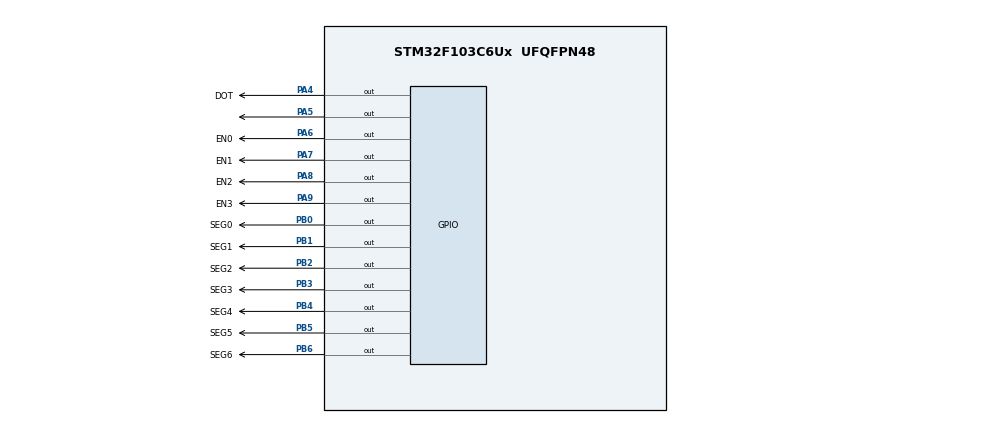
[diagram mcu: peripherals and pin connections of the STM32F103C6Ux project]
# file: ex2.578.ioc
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Mcu.Family=STM32F1
Mcu.Name=STM32F103C6Ux
Mcu.Package=UFQFPN48
NVIC.PriorityGroup=NVIC_PRIORITYGROUP_4
NVIC.TIM2_IRQn=true\:0\:0\:false\:false\:true\:true\:true
PA4.GPIO_Label=DOT
PA4.Signal=GPIO_Output
PA5.Signal=GPIO_Output
PA6.GPIO_Label=EN0
PA6.Signal=GPIO_Output
PA7.GPIO_Label=EN1
PA7.Signal=GPIO_Output
PA8.GPIO_Label=EN2
PA8.Signal=GPIO_Output
PA9.GPIO_Label=EN3
PA9.Signal=GPIO_Output
PB0.GPIO_Label=SEG0
PB0.Signal=GPIO_Output
PB1.GPIO_Label=SEG1
PB1.Signal=GPIO_Output
PB2.GPIO_Label=SEG2
PB2.Signal=GPIO_Output
PB3.GPIO_Label=SEG3
PB3.Signal=GPIO_Output
PB4.GPIO_Label=SEG4
PB4.Signal=GPIO_Output
PB5.GPIO_Label=SEG5
PB5.Signal=GPIO_Output
PB6.GPIO_Label=SEG6
PB6.Signal=GPIO_Output
ProjectManager.HeapSize=0x200
ProjectManager.StackSize=0x400
ProjectManager.TargetToolchain=STM32CubeIDE
RCC.APB1Freq_Value=8000000
RCC.APB2Freq_Value=8000000
TIM2.Period=9
TIM2.Prescaler=7999
VP_SYS_VS_ND.Mode=No_Debug
VP_TIM2_VS_ClockSourceINT.Mode=Internal
board=custom

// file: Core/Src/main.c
/* USER CODE BEGIN Header */
/**
  ******************************************************************************
  * @file           : main.c
  * @brief          : Main program body
  ******************************************************************************
  * @attention
  *
  * <h2><center>&copy; Copyright (c) 2023 STMicroelectronics.
  * All rights reserved.</center></h2>
  *
  * This software component is licensed by ST under BSD 3-Clause license,
  * the "License"; You may not use this file except in compliance with the
  * License. You may obtain a copy of the License at:
  *                        opensource.org/licenses/BSD-3-Clause
  *
  ******************************************************************************
  */
/* USER CODE END Header */
#include "main.h"

TIM_HandleTypeDef htim2;

void SystemClock_Config(void);
static void MX_GPIO_Init(void);
static void MX_TIM2_Init(void);
/* USER CODE BEGIN PFP */
void display7SEG(int num){
	if(num == 0){
			HAL_GPIO_WritePin(SEG0_GPIO_Port, SEG0_Pin, RESET);
			HAL_GPIO_WritePin(SEG1_GPIO_Port, SEG1_Pin, RESET);
			HAL_GPIO_WritePin(SEG2_GPIO_Port, SEG2_Pin, RESET);
			HAL_GPIO_WritePin(SEG3_GPIO_Port, SEG3_Pin, RESET);
			HAL_GPIO_WritePin(SEG4_GPIO_Port, SEG4_Pin, RESET);
			HAL_GPIO_WritePin(SEG5_GPIO_Port, SEG5_Pin, RESET);
			HAL_GPIO_WritePin(SEG6_GPIO_Port, SEG6_Pin, SET);
		}
		else if(num == 1){
			HAL_GPIO_WritePin(SEG0_GPIO_Port, SEG0_Pin, SET);
			HAL_GPIO_WritePin(SEG1_GPIO_Port, SEG1_Pin, RESET);
			HAL_GPIO_WritePin(SEG2_GPIO_Port, SEG2_Pin, RESET);
			HAL_GPIO_WritePin(SEG3_GPIO_Port, SEG3_Pin, SET);
			HAL_GPIO_WritePin(SEG4_GPIO_Port, SEG4_Pin, SET);
			HAL_GPIO_WritePin(SEG5_GPIO_Port, SEG5_Pin, SET);
			HAL_GPIO_WritePin(SEG6_GPIO_Port, SEG6_Pin, SET);
		}
		else if(num == 2){
			HAL_GPIO_WritePin(SEG0_GPIO_Port, SEG0_Pin, RESET);
			HAL_GPIO_WritePin(SEG1_GPIO_Port, SEG1_Pin, RESET);
			HAL_GPIO_WritePin(SEG2_GPIO_Port, SEG2_Pin, SET);
			HAL_GPIO_WritePin(SEG3_GPIO_Port, SEG3_Pin, RESET);
			HAL_GPIO_WritePin(SEG4_GPIO_Port, SEG4_Pin, RESET);
			HAL_GPIO_WritePin(SEG5_GPIO_Port, SEG5_Pin, SET);
			HAL_GPIO_WritePin(SEG6_GPIO_Port, SEG6_Pin, RESET);
		}
		else if(num == 3){
			HAL_GPIO_WritePin(SEG0_GPIO_Port, SEG0_Pin, RESET);
			HAL_GPIO_WritePin(SEG1_GPIO_Port, SEG1_Pin, RESET);
			HAL_GPIO_WritePin(SEG2_GPIO_Port, SEG2_Pin, RESET);
			HAL_GPIO_WritePin(SEG3_GPIO_Port, SEG3_Pin, RESET);
			HAL_GPIO_WritePin(SEG4_GPIO_Port, SEG4_Pin, SET);
			HAL_GPIO_WritePin(SEG5_GPIO_Port, SEG5_Pin, SET);
			HAL_GPIO_WritePin(SEG6_GPIO_Port, SEG6_Pin, RESET);
		}
		else if(num == 4){
			HAL_GPIO_WritePin(SEG0_GPIO_Port, SEG0_Pin, SET);
			HAL_GPIO_WritePin(SEG1_GPIO_Port, SEG1_Pin, RESET);
			HAL_GPIO_WritePin(SEG2_GPIO_Port, SEG2_Pin, RESET);
			HAL_GPIO_WritePin(SEG3_GPIO_Port, SEG3_Pin, SET);
			HAL_GPIO_WritePin(SEG4_GPIO_Port, SEG4_Pin, SET);
			HAL_GPIO_WritePin(SEG5_GPIO_Port, SEG5_Pin, RESET);
			HAL_GPIO_WritePin(SEG6_GPIO_Port, SEG6_Pin, RESET);
		}
		else if(num == 5){
			HAL_GPIO_WritePin(SEG0_GPIO_Port, SEG0_Pin, RESET);
			HAL_GPIO_WritePin(SEG1_GPIO_Port, SEG1_Pin, SET);
			HAL_GPIO_WritePin(SEG2_GPIO_Port, SEG2_Pin, RESET);
			HAL_GPIO_WritePin(SEG3_GPIO_Port, SEG3_Pin, RESET);
			HAL_GPIO_WritePin(SEG4_GPIO_Port, SEG4_Pin, SET);
			HAL_GPIO_WritePin(SEG5_GPIO_Port, SEG5_Pin, RESET);
			HAL_GPIO_WritePin(SEG6_GPIO_Port, SEG6_Pin, RESET);
		}
		else if(num == 6){
			HAL_GPIO_WritePin(SEG0_GPIO_Port, SEG0_Pin, RESET);
			HAL_GPIO_WritePin(SEG1_GPIO_Port, SEG1_Pin, SET);
			HAL_GPIO_WritePin(SEG2_GPIO_Port, SEG2_Pin, RESET);
			HAL_GPIO_WritePin(SEG3_GPIO_Port, SEG3_Pin, RESET);
			HAL_GPIO_WritePin(SEG4_GPIO_Port, SEG4_Pin, RESET);
			HAL_GPIO_WritePin(SEG5_GPIO_Port, SEG5_Pin, RESET);
			HAL_GPIO_WritePin(SEG6_GPIO_Port, SEG6_Pin, RESET);
		}
		else if(num == 7){
			HAL_GPIO_WritePin(SEG0_GPIO_Port, SEG0_Pin, RESET);
			HAL_GPIO_WritePin(SEG1_GPIO_Port, SEG1_Pin, RESET);
			HAL_GPIO_WritePin(SEG2_GPIO_Port, SEG2_Pin, RESET);
			HAL_GPIO_WritePin(SEG3_GPIO_Port, SEG3_Pin, SET);
			HAL_GPIO_WritePin(SEG4_GPIO_Port, SEG4_Pin, SET);
			HAL_GPIO_WritePin(SEG5_GPIO_Port, SEG5_Pin, SET);
			HAL_GPIO_WritePin(SEG6_GPIO_Port, SEG6_Pin, SET);
		}
		else if(num == 8){
			HAL_GPIO_WritePin(SEG0_GPIO_Port, SEG0_Pin, RESET);
			HAL_GPIO_WritePin(SEG1_GPIO_Port, SEG1_Pin, RESET);
			HAL_GPIO_WritePin(SEG2_GPIO_Port, SEG2_Pin, RESET);
			HAL_GPIO_WritePin(SEG3_GPIO_Port, SEG3_Pin, RESET);
			HAL_GPIO_WritePin(SEG4_GPIO_Port, SEG4_Pin, RESET);
			HAL_GPIO_WritePin(SEG5_GPIO_Port, SEG5_Pin, RESET);
			HAL_GPIO_WritePin(SEG6_GPIO_Port, SEG6_Pin, RESET);
		}
		else if(num == 9){
			HAL_GPIO_WritePin(SEG0_GPIO_Port, SEG0_Pin, RESET);
			HAL_GPIO_WritePin(SEG1_GPIO_Port, SEG1_Pin, RESET);
			HAL_GPIO_WritePin(SEG2_GPIO_Port, SEG2_Pin, RESET);
			HAL_GPIO_WritePin(SEG3_GPIO_Port, SEG3_Pin, RESET);
			HAL_GPIO_WritePin(SEG4_GPIO_Port, SEG4_Pin, SET);
			HAL_GPIO_WritePin(SEG5_GPIO_Port, SEG5_Pin, RESET);
			HAL_GPIO_WritePin(SEG6_GPIO_Port, SEG6_Pin, RESET);
		}
}
/* USER CODE END PFP */

/* USER CODE BEGIN 0 */
int timer0_counter = 0;
int timer0_flag = 0;
int TIMER_CYCLE = 10;

void setTimer0(int duration) {
	timer0_counter = duration / TIMER_CYCLE;
	timer0_flag = 0;
}
void timer_run() {
	if (timer0_counter > 0) {
		timer0_counter--;
		if (timer0_counter == 0) {
			timer0_flag = 1;
		}
	}
}
/* USER CODE END 0 */

int main(void)
{

  /* MCU Configuration--------------------------------------------------------*/

  /* Reset of all peripherals, Initializes the Flash interface and the Systick. */
  HAL_Init();

  /* Configure the system clock */
  SystemClock_Config();

  /* Initialize all configured peripherals */
  MX_GPIO_Init();
  MX_TIM2_Init();

  /* Infinite loop */
  /* USER CODE BEGIN WHILE */
//  	const int MAX_LED = 4;
    int index_led = 0;
    int led_buffer [4] = {1 , 2 , 3 , 5};
    void update7SEG ( int index ) {
    	switch ( index ) {
    	case 0: //3 off 0 on
    		HAL_GPIO_WritePin(EN0_GPIO_Port, EN0_Pin, RESET);
    		HAL_GPIO_WritePin(EN3_GPIO_Port, EN3_Pin, SET);
    		display7SEG(led_buffer[index]);
    		break;
    	case 1: //0 off 1 on
    		HAL_GPIO_WritePin(EN0_GPIO_Port, EN0_Pin, SET);
    		HAL_GPIO_WritePin(EN1_GPIO_Port, EN1_Pin, RESET);
    		display7SEG(led_buffer[index]);
    		break;
    	case 2://1 off 2 on
    		HAL_GPIO_WritePin(EN0_GPIO_Port, EN1_Pin, SET);
    		HAL_GPIO_WritePin(EN2_GPIO_Port, EN2_Pin, RESET);
    		display7SEG(led_buffer[index]);
    		break;
    	case 3://2 off 3 on
    		HAL_GPIO_WritePin(EN2_GPIO_Port, EN2_Pin, SET);
    		HAL_GPIO_WritePin(EN3_GPIO_Port, EN3_Pin, RESET);
    		display7SEG(led_buffer[index]);
    		break;
    	}
    }
//    int hour=15,minute=8,second=50;
//    void updateClockBuffer(){ //change state accordingly to number
//  	  led_buffer[0] = hour / 10;
//  	  led_buffer[1] = hour % 10;
//  	  led_buffer[2] = minute / 10;
//  	  led_buffer[3] = minute % 10;
//}
    ////
    HAL_GPIO_TogglePin ( GPIOA , GPIO_PIN_5 ) ;
    HAL_GPIO_TogglePin ( DOT_GPIO_Port, DOT_Pin);
    HAL_GPIO_TogglePin ( EN0_GPIO_Port, EN0_Pin ) ;
    HAL_GPIO_TogglePin ( EN1_GPIO_Port, EN1_Pin ) ;
    HAL_GPIO_TogglePin ( EN2_GPIO_Port, EN2_Pin ) ;
    HAL_GPIO_TogglePin ( EN3_GPIO_Port, EN3_Pin ) ;
    setTimer0(500);
    int halfsec_counter=0;

    int hour=15,minute=8,second=50;
        void updateClockBuffer(){ //change state accordingly to number
      	  led_buffer[0] = hour / 10;
      	  led_buffer[1] = hour % 10;
      	  led_buffer[2] = minute / 10;
      	  led_buffer[3] = minute % 10;
        }
  while (1)
  {
    /* USER CODE END WHILE */

    /* USER CODE BEGIN 3 */
//loop for ex5
//	  second++;
//	  if(second>=60) {
//		  second=0;
//		  minute++;
//	  }
//	  if(minute>=60){
//		  minute=0;
//		  hour++;
//	  }
//	  if(hour>=24){
//		  hour=0;
//	  }
//	  updateClockBuffer();
//	  update7SEG(index_led++);
//	  if(index_led >= 4){
//		  index_led = 0;
//	  }
//	  HAL_Delay(50);
	  if(timer0_flag==1){
		  setTimer0(500);
		  halfsec_counter++;
		  if(halfsec_counter==2){
			  second++;
			  if(second>=60) {
				  second=0;
				  minute++;
			  }
			  if(minute>=60){
				  minute=0;
				  hour++;
			  }
			  if(hour>=24){
				  hour=0;
			  }
			  updateClockBuffer();
			  HAL_GPIO_TogglePin(GPIOA, GPIO_PIN_5);
			  HAL_GPIO_TogglePin(DOT_GPIO_Port, DOT_Pin);
			  halfsec_counter=0;
		  }
	  		  update7SEG(index_led++); //update every 0.5 sec
	  }
	  	  if(index_led>3) index_led=0; //reset index_led
	}

  /* USER CODE END 3 */
}

void SystemClock_Config(void)
{
  RCC_OscInitTypeDef RCC_OscInitStruct = {0};
  RCC_ClkInitTypeDef RCC_ClkInitStruct = {0};

  /** Initializes the RCC Oscillators according to the specified parameters
  * in the RCC_OscInitTypeDef structure.
  */
  RCC_OscInitStruct.OscillatorType = RCC_OSCILLATORTYPE_HSI;
  RCC_OscInitStruct.HSIState = RCC_HSI_ON;
  RCC_OscInitStruct.HSICalibrationValue = RCC_HSICALIBRATION_DEFAULT;
  RCC_OscInitStruct.PLL.PLLState = RCC_PLL_NONE;
  if (HAL_RCC_OscConfig(&RCC_OscInitStruct) != HAL_OK)
  {
    Error_Handler();
  }
  /** Initializes the CPU, AHB and APB buses clocks
  */
  RCC_ClkInitStruct.ClockType = RCC_CLOCKTYPE_HCLK|RCC_CLOCKTYPE_SYSCLK
                              |RCC_CLOCKTYPE_PCLK1|RCC_CLOCKTYPE_PCLK2;
  RCC_ClkInitStruct.SYSCLKSource = RCC_SYSCLKSOURCE_HSI;
  RCC_ClkInitStruct.AHBCLKDivider = RCC_SYSCLK_DIV1;
  RCC_ClkInitStruct.APB1CLKDivider = RCC_HCLK_DIV1;
  RCC_ClkInitStruct.APB2CLKDivider = RCC_HCLK_DIV1;

  if (HAL_RCC_ClockConfig(&RCC_ClkInitStruct, FLASH_LATENCY_0) != HAL_OK)
  {
    Error_Handler();
  }
}

static void MX_TIM2_Init(void)
{

  TIM_ClockConfigTypeDef sClockSourceConfig = {0};
  TIM_MasterConfigTypeDef sMasterConfig = {0};

  htim2.Instance = TIM2;
  htim2.Init.Prescaler = 7999;
  htim2.Init.CounterMode = TIM_COUNTERMODE_UP;
  htim2.Init.Period = 9;
  htim2.Init.ClockDivision = TIM_CLOCKDIVISION_DIV1;
  htim2.Init.AutoReloadPreload = TIM_AUTORELOAD_PRELOAD_DISABLE;
  if (HAL_TIM_Base_Init(&htim2) != HAL_OK)
  {
    Error_Handler();
  }
  sClockSourceConfig.ClockSource = TIM_CLOCKSOURCE_INTERNAL;
  if (HAL_TIM_ConfigClockSource(&htim2, &sClockSourceConfig) != HAL_OK)
  {
    Error_Handler();
  }
  sMasterConfig.MasterOutputTrigger = TIM_TRGO_RESET;
  sMasterConfig.MasterSlaveMode = TIM_MASTERSLAVEMODE_DISABLE;
  if (HAL_TIMEx_MasterConfigSynchronization(&htim2, &sMasterConfig) != HAL_OK)
  {
    Error_Handler();
  }

}

static void MX_GPIO_Init(void)
{
  GPIO_InitTypeDef GPIO_InitStruct = {0};

  /* GPIO Ports Clock Enable */
  __HAL_RCC_GPIOA_CLK_ENABLE();
  __HAL_RCC_GPIOB_CLK_ENABLE();

  /*Configure GPIO pin Output Level */
  HAL_GPIO_WritePin(GPIOA, DOT_Pin|GPIO_PIN_5|EN0_Pin|EN1_Pin
                          |EN2_Pin|EN3_Pin, GPIO_PIN_RESET);

  /*Configure GPIO pin Output Level */
  HAL_GPIO_WritePin(GPIOB, SEG0_Pin|SEG1_Pin|SEG2_Pin|SEG3_Pin
                          |SEG4_Pin|SEG5_Pin|SEG6_Pin, GPIO_PIN_RESET);

  /*Configure GPIO pins : DOT_Pin PA5 EN0_Pin EN1_Pin
                           EN2_Pin EN3_Pin */
  GPIO_InitStruct.Pin = DOT_Pin|GPIO_PIN_5|EN0_Pin|EN1_Pin
                          |EN2_Pin|EN3_Pin;
  GPIO_InitStruct.Mode = GPIO_MODE_OUTPUT_PP;
  GPIO_InitStruct.Pull = GPIO_NOPULL;
  GPIO_InitStruct.Speed = GPIO_SPEED_FREQ_LOW;
  HAL_GPIO_Init(GPIOA, &GPIO_InitStruct);

  /*Configure GPIO pins : SEG0_Pin SEG1_Pin SEG2_Pin SEG3_Pin
                           SEG4_Pin SEG5_Pin SEG6_Pin */
  GPIO_InitStruct.Pin = SEG0_Pin|SEG1_Pin|SEG2_Pin|SEG3_Pin
                          |SEG4_Pin|SEG5_Pin|SEG6_Pin;
  GPIO_InitStruct.Mode = GPIO_MODE_OUTPUT_PP;
  GPIO_InitStruct.Pull = GPIO_NOPULL;
  GPIO_InitStruct.Speed = GPIO_SPEED_FREQ_LOW;
  HAL_GPIO_Init(GPIOB, &GPIO_InitStruct);
}

/* USER CODE BEGIN 4 */
int counter1 = 100; ///for 7seg
int counter2 = 100; ///for led
void HAL_TIM_PeriodElapsedCallback ( TIM_HandleTypeDef * htim ){
	timer_run();
}
/* USER CODE END 4 */

void Error_Handler(void)
{
  __disable_irq();
  while (1)
  {
  }
}

/************************ (C) COPYRIGHT STMicroelectronics *****END OF FILE****/
